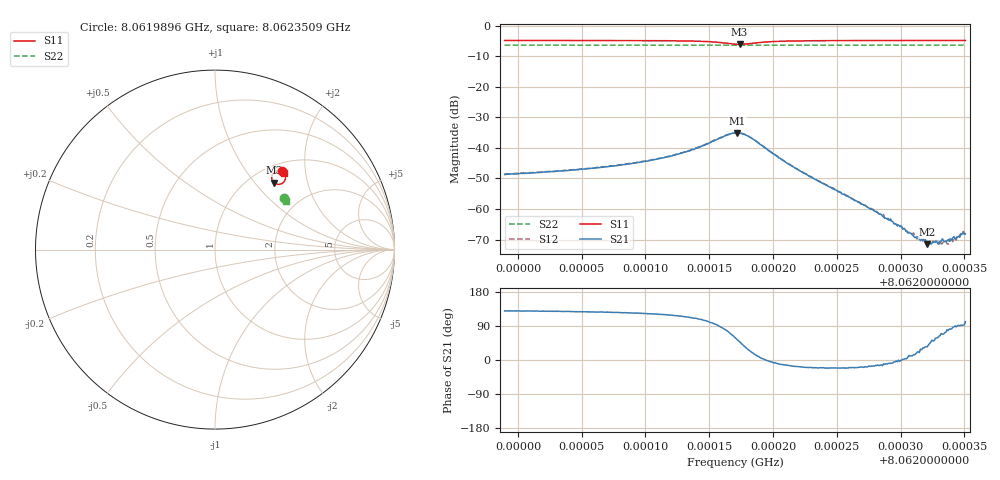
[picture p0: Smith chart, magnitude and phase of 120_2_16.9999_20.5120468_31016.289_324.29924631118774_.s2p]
#  HZ  S  RI  R  50.00
! Rohde & Schwarz Vector Network Analyzer
! Rohde-Schwarz,ZNB20-2Port,1311601062101988,3.16
! Created: UTC 3/20/2024, 10:57:24 PM
! freq[Hz]  re:S11  im:S11  re:S21  im:S21  re:S12  im:S12  re:S22  im:S22
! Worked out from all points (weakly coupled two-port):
!   401 points, 8.0619896 GHz to 8.0623509 GHz, reference 50 ohm
!   highest |S21| = -35.14 dB at 8.062172 GHz (marker M1); lowest = -71.6 dB at 8.0623211 GHz (marker M2)
!   lowest |S11| = -6.1 dB at 8.0621738 GHz (marker M3), VSWR 2.98, Z = 63.9 + j63.3 ohm
!   |S11| at or under -10 dB: nowhere
!   |S22| runs from -6.4 to -6.3 dB; largest |S21 - S12| = 0.0012
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8.06198958e9  0.3757 0.436  -0.00235 0.00282  -0.00222 0.00302  0.3864 0.29
8.06205009e9  0.3814 0.4302  -0.00272 0.00356  -0.00252 0.00378  0.3885 0.2869
8.06208532e9  0.3856 0.4248  -0.00306 0.00445  -0.00284 0.00467  0.3899 0.2851
8.0621106e9  0.3894 0.418  -0.00338 0.00575  -0.00311 0.00597  0.3905 0.2836
8.06213318e9  0.3924 0.4063  -0.00349 0.00809  -0.00305 0.0084  0.3913 0.282
8.06215576e9  0.3846 0.3783  -0.000783 0.0137  0.000228 0.0139  0.3912 0.2799
8.06217022e9  0.3429 0.3651  0.00892 0.015  0.00983 0.0146  0.3895 0.2794
8.06217202e9  0.3357 0.3681  0.0105 0.014  0.0114 0.0136  0.3893 0.2794
8.06217383e9  0.3293 0.3727  0.0116 0.013  0.0126 0.0122  0.3892 0.2796
8.06218286e9  0.3161 0.4054  0.0136 0.00537  0.014 0.00451  0.3896 0.2808
8.06220996e9  0.3488 0.4398  0.0057 -0.00137  0.00565 -0.00175  0.3924 0.2806
8.06223073e9  0.3621 0.4395  0.00305 -0.00111  0.00303 -0.00133  0.3936 0.2795
8.06229124e9  0.377 0.4336  0.000653 -9.84e-05  0.000644 -0.000171  0.396 0.2761
8.06230389e9  0.3787 0.4325  0.000449 3e-05  0.000434 1.28e-05  0.3963 0.2754
8.06231112e9  0.3796 0.4319  0.000332 8.29e-05  0.000346 7.44e-05  0.3967 0.275
8.06231292e9  0.3797 0.4316  0.000329 0.000118  0.000315 7.96e-05  0.3968 0.275
8.06231744e9  0.3803 0.4315  0.000264 0.000163  0.000262 0.000143  0.397 0.2748
8.06232105e9  0.3809 0.4312  0.000216 0.000151  0.000204 0.000138  0.3971 0.2746
8.06233731e9  0.3824 0.4299  6.74e-05 0.000309  8.17e-05 0.000253  0.3976 0.2737
8.06234273e9  0.3831 0.4295  6.12e-07 0.000325  2.27e-05 0.000324  0.3977 0.2733
8.06234815e9  0.3835 0.4293  -7.85e-06 0.000389  -8.83e-06 0.000374  0.3978 0.2731
8.06235086e9  0.3837 0.429  -7.57e-05 0.000386  -3.29e-05 0.000363  0.398 0.273
